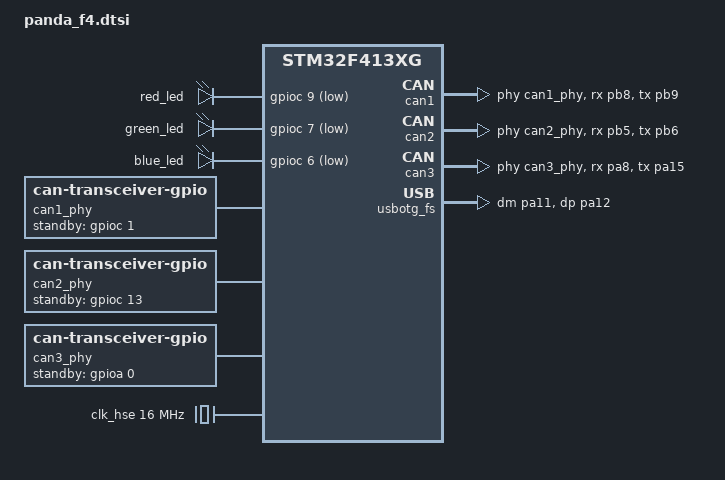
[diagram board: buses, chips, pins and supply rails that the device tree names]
/*
 * SPDX-License-Identifier: Apache-2.0
 *
 * Hardware reference: commaai/panda f849893bdcfc6cd05d4547d64d2802b5a83f409c,
 * board/boards/white.h and board/stm32f4/{clock,peripherals}.h.
 */

#include <st/f4/stm32f413Xg.dtsi>
#include <st/f4/stm32f413r(g-h)tx-pinctrl.dtsi>
#include <zephyr/dt-bindings/gpio/gpio.h>

/ {
	chosen {
		zephyr,sram = &sram0;
		zephyr,flash = &flash0;
		zephyr,canbus = &can1;
	};

	leds {
		compatible = "gpio-leds";
		red_led: red {
			gpios = <&gpioc 9 GPIO_ACTIVE_LOW>;
		};
		green_led: green {
			gpios = <&gpioc 7 GPIO_ACTIVE_LOW>;
		};
		blue_led: blue {
			gpios = <&gpioc 6 GPIO_ACTIVE_LOW>;
		};
	};

	can1_phy: can1-phy {
		compatible = "can-transceiver-gpio";
		#phy-cells = <0>;
		max-bitrate = <1000000>;
		standby-gpios = <&gpioc 1 GPIO_ACTIVE_HIGH>;
	};
	can2_phy: can2-phy {
		compatible = "can-transceiver-gpio";
		#phy-cells = <0>;
		max-bitrate = <1000000>;
		standby-gpios = <&gpioc 13 GPIO_ACTIVE_HIGH>;
	};
	can3_phy: can3-phy {
		compatible = "can-transceiver-gpio";
		#phy-cells = <0>;
		max-bitrate = <1000000>;
		standby-gpios = <&gpioa 0 GPIO_ACTIVE_HIGH>;
	};
};

&clk_hse {
	clock-frequency = <DT_FREQ_M(16)>;
	status = "okay";
};

&pll {
	div-m = <8>;
	mul-n = <96>;
	div-p = <2>;
	div-q = <4>;
	clocks = <&clk_hse>;
	status = "okay";
};

&rcc {
	clocks = <&pll>;
	clock-frequency = <DT_FREQ_M(96)>;
	ahb-prescaler = <1>;
	apb1-prescaler = <2>;
	apb2-prescaler = <2>;
};

&can1 {
	pinctrl-0 = <&can1_rx_pb8 &can1_tx_pb9>;
	pinctrl-names = "default";
	phys = <&can1_phy>;
	status = "okay";
};

&can2 {
	pinctrl-0 = <&can2_rx_pb5 &can2_tx_pb6>;
	pinctrl-names = "default";
	phys = <&can2_phy>;
	status = "okay";
};

&can3 {
	pinctrl-0 = <&can3_rx_pa8 &can3_tx_pa15>;
	pinctrl-names = "default";
	phys = <&can3_phy>;
	status = "okay";
};

zephyr_udc0: &usbotg_fs {
	pinctrl-0 = <&usb_otg_fs_dm_pa11 &usb_otg_fs_dp_pa12>;
	pinctrl-names = "default";
	status = "okay";
};

&usb_otg_fs_dm_pa11 {
	slew-rate = "very-high-speed";
};

&usb_otg_fs_dp_pa12 {
	slew-rate = "very-high-speed";
};

